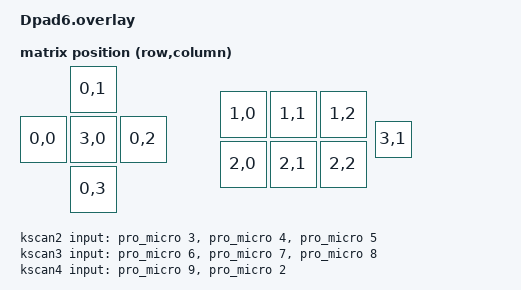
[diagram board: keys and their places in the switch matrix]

#include <dt-bindings/zmk/matrix_transform.h>
#include <physical_layouts.dtsi>

&adc {
    #io-channel-cells = <1>;
    #address-cells = <1>;
    #size-cells = <0>;
	status = "okay";

    channel@5 {
        reg = <5>;
        zephyr,input-positive = <NRF_SAADC_AIN5>;
        zephyr,gain = "ADC_GAIN_1_6";
        zephyr,reference = "ADC_REF_INTERNAL";
        zephyr,acquisition-time = <ADC_ACQ_TIME_DEFAULT>;
        zephyr,resolution = <12>;
        zephyr,oversampling = <0>;
    };

    channel@7 {
        reg = <7>;
        zephyr,input-positive = <NRF_SAADC_AIN7>;
        zephyr,gain = "ADC_GAIN_1_6";
        zephyr,reference = "ADC_REF_INTERNAL";
        zephyr,acquisition-time = <ADC_ACQ_TIME_DEFAULT>;
        zephyr,resolution = <12>;
        zephyr,oversampling = <0>;
    };
};

/ {
    chosen {
      zmk,physical-layout = &default_layout;
    };

    kscan0: kscan_composite {
        compatible = "zmk,kscan-composite";
        rows = <4>;
        columns = <4>;

        direct_one {
            kscan = <&kscan1>;
            row-offset = <0>; // ...and shift it to not overlap
        };

        direct_two {
            kscan = <&kscan2>;
            row-offset = <1>;
        };

        direct_three {
            kscan = <&kscan3>;
            row-offset = <2>;
        };

        direct_four {
            kscan = <&kscan4>;
            row-offset = <3>;
        };
    };

    kscan1: kscan_joystick {
        compatible = "zmk,kscan-joystick";
        poll-period-ms = <4>;  /* 250Hz */
        idle-period-ms = <50>; /* 20Hz */
        angle-overlap = <30>;
        /* Increase threshold/hysteris to suppress idle jitter */
        status = "okay";
        wakeup-source;
        io-channels = <&adc 5>, <&adc 7>;
        io-channel-names = "x-axis", "y-axis";
    };

    kscan2: kscan2 {
        compatible = "zmk,kscan-gpio-direct";
        wakeup-source;
        input-gpios
            = 
            <&pro_micro 3 (GPIO_ACTIVE_LOW | GPIO_PULL_UP)>,
            <&pro_micro 4 (GPIO_ACTIVE_LOW | GPIO_PULL_UP)>,
            <&pro_micro 5 (GPIO_ACTIVE_LOW | GPIO_PULL_UP)>;

    }; 

    kscan3: kscan3 {
        compatible = "zmk,kscan-gpio-direct";
        wakeup-source;
        input-gpios
            = 
            <&pro_micro 6 (GPIO_ACTIVE_LOW | GPIO_PULL_UP)>,
            <&pro_micro 7 (GPIO_ACTIVE_LOW | GPIO_PULL_UP)>,
            <&pro_micro 8 (GPIO_ACTIVE_LOW | GPIO_PULL_UP)>;
    }; 

    kscan4: kscan4 {
        compatible = "zmk,kscan-gpio-direct";
        wakeup-source;
        input-gpios
            = 
            <&pro_micro 9 (GPIO_ACTIVE_LOW | GPIO_PULL_UP)>,
            <&pro_micro 2 (GPIO_ACTIVE_LOW | GPIO_PULL_UP)>;
    }; 

    default_transform: matrix_transform {
        compatible = "zmk,matrix-transform";
        rows = <4>;
        columns = <4>;
        // ┌───┬───┐
        // │ 1 │ 2 │ 
        // ├───┼───│
        // │ 3 │ 4 │ 
        // └───────┘
        map = <
            RC(0,0) RC(0,1) RC(0,2) RC(0,3)
            RC(1,0) RC(1,1) RC(1,2) 
            RC(2,0) RC(2,1) RC(2,2)
            RC(3,0) RC(3,1)
        >;
    };

    
    default_layout: physical_layout0 {
        compatible = "zmk,physical-layout";
        display-name = "Default";

        transform = <&default_transform>;
        kscan = <&kscan0>;

        keys  //                     w   h    x    y     rot    rx    ry
            = <&key_physical_attrs 100 100    0  100       0     0     0>
            , <&key_physical_attrs 100 100  100    0       0     0     0>
            , <&key_physical_attrs 100 100  200  100       0     0     0>
            , <&key_physical_attrs 100 100  100  200       0     0     0>
            , <&key_physical_attrs 100 100  400   50       0     0     0>
            , <&key_physical_attrs 100 100  500   50       0     0     0>
            , <&key_physical_attrs 100 100  600   50       0     0     0>
            , <&key_physical_attrs 100 100  400  150       0     0     0>
            , <&key_physical_attrs 100 100  500  150       0     0     0>
            , <&key_physical_attrs 100 100  600  150       0     0     0>
            , <&key_physical_attrs 100 100  100  100       0     0     0>
            , <&key_physical_attrs  80  80  710  110       0     0     0>
            ;
    };

   
};

